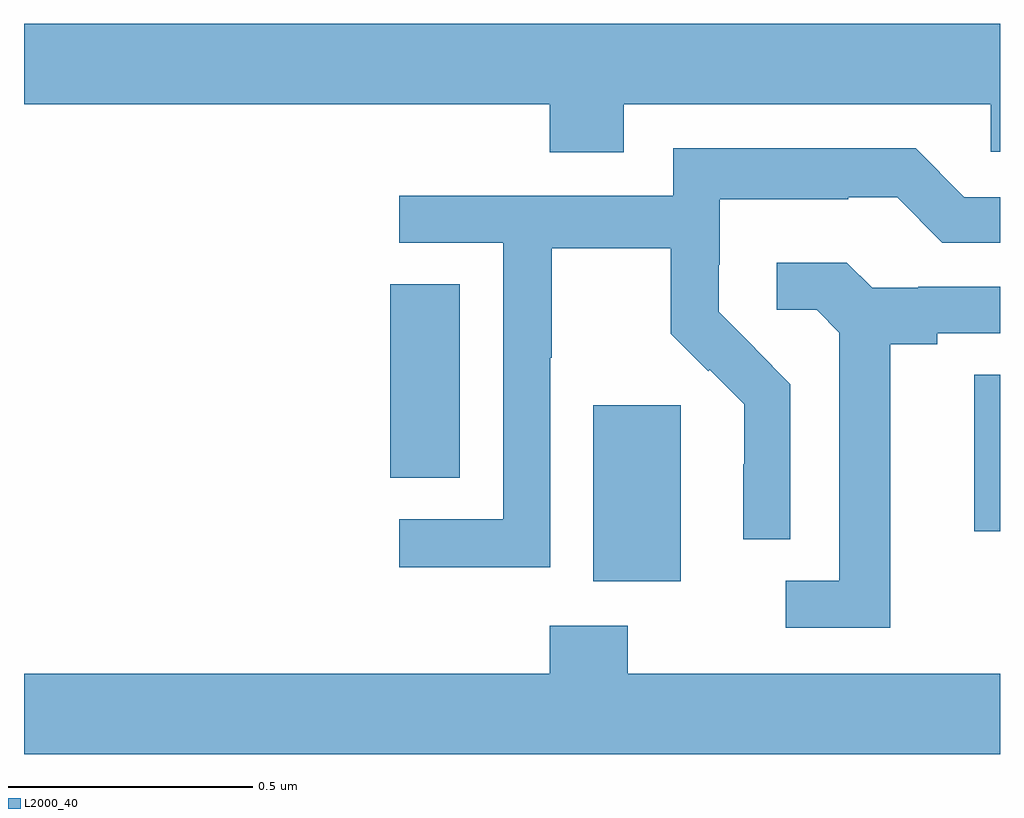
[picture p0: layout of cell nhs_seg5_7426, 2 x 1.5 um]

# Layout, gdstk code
import gdstk
lib = gdstk.Library(unit=1e-6, precision=1e-09)
def R(c, l, rs):  # rectangles x0, y0, x1, y1
    for r in rs: c.add(gdstk.rectangle(r[:2], r[2:], *l))
def P(c, l, *ps):  # polygons
    for p in ps: c.add(gdstk.Polygon(p, *l))
L2000_40 = (2000, 40)

nhs_seg5_7426 = lib.new_cell('nhs_seg5_7426')
R(nhs_seg5_7426, L2000_40, [(210.167,838.466,210.346,838.827), (210.947,838.569,211,838.889), (209.75,838.678,209.893,839.075)])
P(nhs_seg5_7426, L2000_40, [(210.229,839.444),(210.981,839.444),(210.981,839.346),(211,839.346),(211,839.608),(209,839.608),(209,839.444),(210.077,839.444),(210.077,839.345),(210.229,839.345)],
  [(210.078,838.924),(210.081,838.924),(210.081,839.148),(210.325,839.148),(210.325,838.973),(210.402,838.896),(210.405,838.899),(210.476,838.829),(210.476,838.706),(210.474,838.706),(210.474,838.552),(210.57,838.552),(210.57,838.87),(210.497,838.943),(210.498,838.944),(210.424,839.018),(210.424,839.115),(210.426,839.115),(210.426,839.249),(210.689,839.249),(210.689,839.253),(210.789,839.253),(210.882,839.16),(211,839.16),(211,839.253),(210.927,839.253),(210.827,839.353),(210.33,839.353),(210.33,839.256),(209.769,839.256),(209.769,839.16),(209.982,839.16),(209.982,838.593),(209.769,838.593),(209.769,838.495),(210.078,838.495)],
  [(210.775,838.952),(210.871,838.952),(210.871,838.974),(211,838.974),(211,839.07),(210.832,839.07),(210.832,839.067),(210.738,839.067),(210.686,839.119),(210.543,839.119),(210.543,839.022),(210.624,839.022),(210.671,838.975),(210.671,838.467),(210.561,838.467),(210.561,838.371),(210.775,838.371)],
  [(211,838.276),(210.237,838.276),(210.237,838.375),(210.077,838.375),(210.077,838.276),(209,838.276),(209,838.112),(211,838.112)])

lib.write_gds('nhs_seg5_7426.gds')
